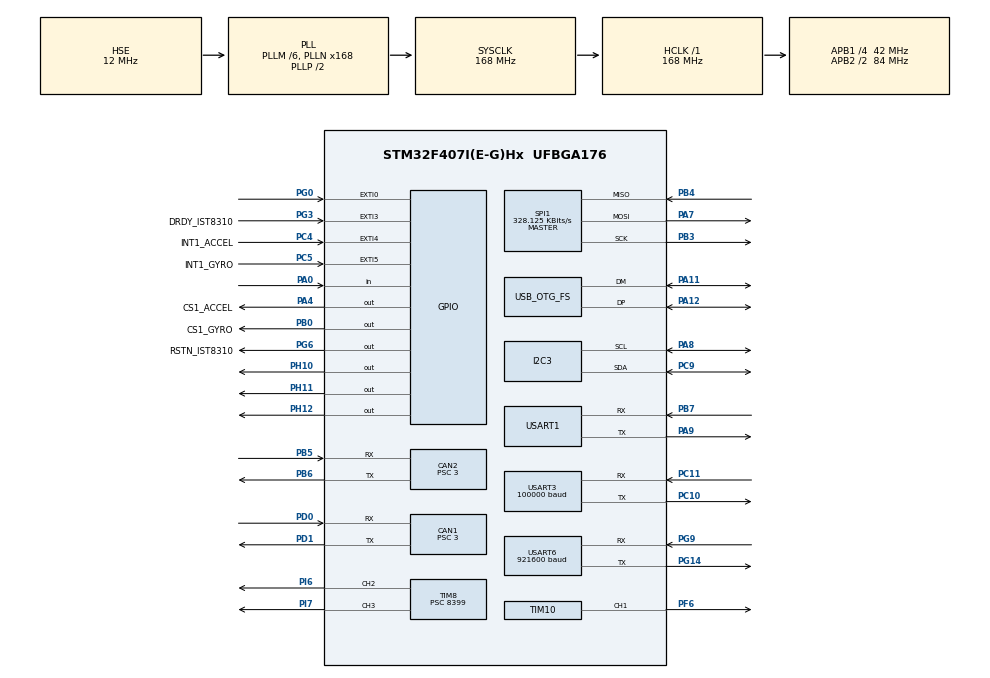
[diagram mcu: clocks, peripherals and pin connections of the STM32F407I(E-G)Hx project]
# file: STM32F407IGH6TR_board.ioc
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CAN1.ABOM=ENABLE
CAN1.BS1=CAN_BS1_9TQ
CAN1.BS2=CAN_BS2_4TQ
CAN1.CalculateBaudRate=1000000
CAN1.CalculateTimeBit=1000
CAN1.CalculateTimeQuantum=71.42857142857143
CAN1.Prescaler=3
CAN2.ABOM=ENABLE
CAN2.BS1=CAN_BS1_9TQ
CAN2.BS2=CAN_BS2_4TQ
CAN2.CalculateBaudRate=1000000
CAN2.CalculateTimeBit=1000
CAN2.CalculateTimeQuantum=71.42857142857143
CAN2.Prescaler=3
Dma.Request0=USART6_RX
Dma.Request1=USART6_TX
Dma.Request2=USART3_RX
Dma.Request3=USART1_RX
Dma.Request4=USART1_TX
Dma.Request5=SPI1_RX
Dma.Request6=SPI1_TX
Dma.SPI1_RX.5.Direction=DMA_PERIPH_TO_MEMORY
Dma.SPI1_RX.5.FIFOMode=DMA_FIFOMODE_DISABLE
Dma.SPI1_RX.5.Instance=DMA2_Stream2
Dma.SPI1_RX.5.MemDataAlignment=DMA_MDATAALIGN_BYTE
Dma.SPI1_RX.5.MemInc=DMA_MINC_ENABLE
Dma.SPI1_RX.5.Mode=DMA_NORMAL
Dma.SPI1_RX.5.PeriphDataAlignment=DMA_PDATAALIGN_BYTE
Dma.SPI1_RX.5.PeriphInc=DMA_PINC_DISABLE
Dma.SPI1_RX.5.Priority=DMA_PRIORITY_VERY_HIGH
Dma.SPI1_TX.6.Direction=DMA_MEMORY_TO_PERIPH
Dma.SPI1_TX.6.FIFOMode=DMA_FIFOMODE_DISABLE
Dma.SPI1_TX.6.Instance=DMA2_Stream3
Dma.SPI1_TX.6.MemDataAlignment=DMA_MDATAALIGN_BYTE
Dma.SPI1_TX.6.MemInc=DMA_MINC_ENABLE
Dma.SPI1_TX.6.Mode=DMA_NORMAL
Dma.SPI1_TX.6.PeriphDataAlignment=DMA_PDATAALIGN_BYTE
Dma.SPI1_TX.6.PeriphInc=DMA_PINC_DISABLE
Dma.SPI1_TX.6.Priority=DMA_PRIORITY_HIGH
Dma.USART1_RX.3.Direction=DMA_PERIPH_TO_MEMORY
Dma.USART1_RX.3.FIFOMode=DMA_FIFOMODE_DISABLE
Dma.USART1_RX.3.Instance=DMA2_Stream5
Dma.USART1_RX.3.MemDataAlignment=DMA_MDATAALIGN_BYTE
Dma.USART1_RX.3.MemInc=DMA_MINC_ENABLE
Dma.USART1_RX.3.Mode=DMA_CIRCULAR
Dma.USART1_RX.3.PeriphDataAlignment=DMA_PDATAALIGN_BYTE
Dma.USART1_RX.3.PeriphInc=DMA_PINC_DISABLE
Dma.USART1_RX.3.Priority=DMA_PRIORITY_LOW
Dma.USART1_TX.4.Direction=DMA_MEMORY_TO_PERIPH
Dma.USART1_TX.4.FIFOMode=DMA_FIFOMODE_DISABLE
Dma.USART1_TX.4.Instance=DMA2_Stream7
Dma.USART1_TX.4.MemDataAlignment=DMA_MDATAALIGN_BYTE
Dma.USART1_TX.4.MemInc=DMA_MINC_ENABLE
Dma.USART1_TX.4.Mode=DMA_NORMAL
Dma.USART1_TX.4.PeriphDataAlignment=DMA_PDATAALIGN_BYTE
Dma.USART1_TX.4.PeriphInc=DMA_PINC_DISABLE
Dma.USART1_TX.4.Priority=DMA_PRIORITY_LOW
Dma.USART3_RX.2.Direction=DMA_PERIPH_TO_MEMORY
Dma.USART3_RX.2.FIFOMode=DMA_FIFOMODE_DISABLE
Dma.USART3_RX.2.Instance=DMA1_Stream1
Dma.USART3_RX.2.MemDataAlignment=DMA_MDATAALIGN_BYTE
Dma.USART3_RX.2.MemInc=DMA_MINC_ENABLE
Dma.USART3_RX.2.Mode=DMA_CIRCULAR
Dma.USART3_RX.2.PeriphDataAlignment=DMA_PDATAALIGN_BYTE
Dma.USART3_RX.2.PeriphInc=DMA_PINC_DISABLE
Dma.USART3_RX.2.Priority=DMA_PRIORITY_VERY_HIGH
Dma.USART6_RX.0.Direction=DMA_PERIPH_TO_MEMORY
Dma.USART6_RX.0.FIFOMode=DMA_FIFOMODE_DISABLE
Dma.USART6_RX.0.Instance=DMA2_Stream1
Dma.USART6_RX.0.MemDataAlignment=DMA_MDATAALIGN_BYTE
Dma.USART6_RX.0.MemInc=DMA_MINC_ENABLE
Dma.USART6_RX.0.Mode=DMA_CIRCULAR
Dma.USART6_RX.0.PeriphDataAlignment=DMA_PDATAALIGN_BYTE
Dma.USART6_RX.0.PeriphInc=DMA_PINC_DISABLE
Dma.USART6_RX.0.Priority=DMA_PRIORITY_VERY_HIGH
Dma.USART6_TX.1.Direction=DMA_MEMORY_TO_PERIPH
Dma.USART6_TX.1.FIFOMode=DMA_FIFOMODE_DISABLE
Dma.USART6_TX.1.Instance=DMA2_Stream6
Dma.USART6_TX.1.MemDataAlignment=DMA_MDATAALIGN_BYTE
Dma.USART6_TX.1.MemInc=DMA_MINC_ENABLE
Dma.USART6_TX.1.Mode=DMA_NORMAL
Dma.USART6_TX.1.PeriphDataAlignment=DMA_PDATAALIGN_BYTE
Dma.USART6_TX.1.PeriphInc=DMA_PINC_DISABLE
Dma.USART6_TX.1.Priority=DMA_PRIORITY_LOW
FREERTOS.INCLUDE_vTaskDelayUntil=1
FREERTOS.INCLUDE_xTaskGetHandle=1
FREERTOS.Tasks01=defaultTask,0,128,StartDefaultTask,Default,NULL,Dynamic,NULL,NULL;GimbalControlTa,2,2048,GimbalControlTask,As weak,NULL,Dynamic,NULL,NULL;VisionComTa,-2,1024,VisionComTask,As weak,NULL,Dynamic,NULL,NULL;imuTask,3,1024,INS_task,As weak,NULL,Static,imuTaskBuffer,imuTaskControlBlock
I2C3.I2C_Mode=I2C_Fast
Mcu.Family=STM32F4
Mcu.Name=STM32F407I(E-G)Hx
Mcu.Package=UFBGA176
NVIC.CAN1_RX0_IRQn=true\:5\:0\:false\:false\:true\:true\:true\:true\:true
NVIC.CAN2_RX0_IRQn=true\:5\:0\:false\:false\:true\:true\:true\:true\:true
NVIC.DMA1_Stream1_IRQn=true\:5\:0\:false\:false\:true\:true\:false\:true\:true
NVIC.DMA2_Stream1_IRQn=true\:5\:0\:false\:false\:true\:true\:false\:true\:true
NVIC.DMA2_Stream2_IRQn=true\:5\:0\:false\:false\:true\:true\:false\:true\:true
NVIC.DMA2_Stream3_IRQn=true\:5\:0\:false\:false\:true\:true\:false\:true\:true
NVIC.DMA2_Stream5_IRQn=true\:5\:0\:false\:false\:true\:false\:false\:true\:true
NVIC.DMA2_Stream6_IRQn=true\:5\:0\:false\:false\:true\:true\:false\:true\:true
NVIC.DMA2_Stream7_IRQn=true\:5\:0\:false\:false\:true\:true\:false\:true\:true
NVIC.EXTI0_IRQn=true\:6\:0\:true\:false\:true\:true\:true\:true\:true
NVIC.EXTI3_IRQn=true\:5\:0\:false\:false\:true\:true\:true\:true\:true
NVIC.EXTI4_IRQn=true\:5\:0\:false\:false\:true\:true\:true\:true\:true
NVIC.EXTI9_5_IRQn=true\:5\:0\:false\:false\:true\:true\:true\:true\:true
NVIC.OTG_FS_IRQn=true\:5\:0\:false\:false\:true\:true\:true\:true\:true
NVIC.PriorityGroup=NVIC_PRIORITYGROUP_4
NVIC.TIM5_IRQn=true\:5\:0\:true\:false\:true\:true\:true\:true\:true
NVIC.TIM8_BRK_TIM12_IRQn=true\:5\:0\:false\:false\:true\:true\:true\:true\:true
NVIC.TIM8_CC_IRQn=true\:5\:0\:false\:false\:true\:true\:true\:true\:true
NVIC.TIM8_TRG_COM_TIM14_IRQn=true\:5\:0\:false\:false\:true\:true\:true\:true\:true
NVIC.TIM8_UP_TIM13_IRQn=true\:5\:0\:false\:false\:true\:true\:true\:true\:true
NVIC.USART1_IRQn=true\:5\:0\:false\:false\:true\:true\:true\:true\:true
NVIC.USART3_IRQn=true\:5\:0\:false\:false\:true\:true\:true\:true\:true
NVIC.USART6_IRQn=true\:5\:0\:false\:false\:true\:true\:true\:true\:true
PA0-WKUP.GPIO_PuPd=GPIO_PULLUP
PA0-WKUP.Signal=GPIO_Input
PA11.Mode=Device_Only
PA11.Signal=USB_OTG_FS_DM
PA12.Mode=Device_Only
PA12.Signal=USB_OTG_FS_DP
PA13.Mode=Serial_Wire
PA13.Signal=SYS_JTMS-SWDIO
PA14.Mode=Serial_Wire
PA14.Signal=SYS_JTCK-SWCLK
PA4.GPIO_Label=CS1_ACCEL
PA4.GPIO_PuPd=GPIO_PULLUP
PA4.GPIO_Speed=GPIO_SPEED_FREQ_HIGH
PA4.PinState=GPIO_PIN_SET
PA4.Signal=GPIO_Output
PA7.GPIO_PuPd=GPIO_PULLUP
PA7.Mode=Full_Duplex_Master
PA7.Signal=SPI1_MOSI
PA8.GPIO_Pu=GPIO_PULLUP
PA8.Mode=I2C
PA8.Signal=I2C3_SCL
PA9.Mode=Asynchronous
PA9.Signal=USART1_TX
PB0.GPIO_Label=CS1_GYRO
PB0.GPIO_PuPd=GPIO_PULLUP
PB0.GPIO_Speed=GPIO_SPEED_FREQ_HIGH
PB0.PinState=GPIO_PIN_SET
PB0.Signal=GPIO_Output
PB3.GPIO_PuPd=GPIO_PULLUP
PB3.Mode=Full_Duplex_Master
PB3.Signal=SPI1_SCK
PB4.GPIO_PuPd=GPIO_PULLUP
PB4.Mode=Full_Duplex_Master
PB4.Signal=SPI1_MISO
PB5.Mode=CAN_Activate
PB5.Signal=CAN2_RX
PB6.Mode=CAN_Activate
PB6.Signal=CAN2_TX
PB7.Mode=Asynchronous
PB7.Signal=USART1_RX
PC10.Mode=Asynchronous
PC10.Signal=USART3_TX
PC11.Mode=Asynchronous
PC11.Signal=USART3_RX
PC4.GPIO_Label=INT1_ACCEL
PC4.GPIO_ModeDefaultEXTI=GPIO_MODE_IT_FALLING
PC4.GPIO_PuPd=GPIO_PULLUP
PC4.Signal=GPXTI4
PC5.GPIO_Label=INT1_GYRO
PC5.GPIO_ModeDefaultEXTI=GPIO_MODE_IT_FALLING
PC5.GPIO_PuPd=GPIO_PULLUP
PC5.Signal=GPXTI5
PC9.GPIO_Pu=GPIO_PULLUP
PC9.Mode=I2C
PC9.Signal=I2C3_SDA
PD0.Mode=CAN_Activate
PD0.Signal=CAN1_RX
PD1.Mode=CAN_Activate
PD1.Signal=CAN1_TX
PF6.GPIO_PuPd=GPIO_PULLUP
PF6.GPIO_Speed=GPIO_SPEED_FREQ_HIGH
PF6.Signal=S_TIM10_CH1
PG0.GPIO_ModeDefaultEXTI=GPIO_MODE_IT_FALLING
PG0.GPIO_PuPd=GPIO_PULLUP
PG0.Signal=GPXTI0
PG14.Mode=Asynchronous
PG14.Signal=USART6_TX
PG3.GPIO_Label=DRDY_IST8310
PG3.GPIO_ModeDefaultEXTI=GPIO_MODE_IT_FALLING
PG3.GPIO_PuPd=GPIO_PULLUP
PG3.Signal=GPXTI3
PG6.GPIO_Label=RSTN_IST8310
PG6.GPIO_PuPd=GPIO_PULLUP
PG6.GPIO_Speed=GPIO_SPEED_FREQ_MEDIUM
PG6.PinState=GPIO_PIN_SET
PG6.Signal=GPIO_Output
PG9.Mode=Asynchronous
PG9.Signal=USART6_RX
PH0-OSC_IN.Mode=HSE-External-Oscillator
PH0-OSC_IN.Signal=RCC_OSC_IN
PH1-OSC_OUT.Mode=HSE-External-Oscillator
PH1-OSC_OUT.Signal=RCC_OSC_OUT
PH10.PinState=GPIO_PIN_RESET
PH10.Signal=GPIO_Output
PH11.PinState=GPIO_PIN_RESET
PH11.Signal=GPIO_Output
PH12.PinState=GPIO_PIN_RESET
PH12.Signal=GPIO_Output
PI6.Signal=S_TIM8_CH2
PI7.Signal=S_TIM8_CH3
ProjectManager.HeapSize=0x1000
ProjectManager.StackSize=0x1000
ProjectManager.TargetToolchain=STM32CubeIDE
RCC.48MHZClocksFreq_Value=48000000
RCC.AHBFreq_Value=168000000
RCC.APB1CLKDivider=RCC_HCLK_DIV4
RCC.APB1Freq_Value=42000000
RCC.APB1TimFreq_Value=84000000
RCC.APB2CLKDivider=RCC_HCLK_DIV2
RCC.APB2Freq_Value=84000000
RCC.APB2TimFreq_Value=168000000
RCC.CortexFreq_Value=168000000
RCC.HCLKFreq_Value=168000000
RCC.HSE_VALUE=12000000
RCC.HSI_VALUE=16000000
RCC.LSE_VALUE=32768
RCC.PLLM=6
RCC.PLLN=168
RCC.PLLQ=7
RCC.SYSCLKFreq_VALUE=168000000
RCC.SYSCLKSource=RCC_SYSCLKSOURCE_PLLCLK
RCC.VCOOutputFreq_Value=336000000
SH.S_TIM10_CH1.0=TIM10_CH1,PWM Generation1 CH1
SH.S_TIM8_CH2.0=TIM8_CH2,PWM Generation2 CH2
SH.S_TIM8_CH3.0=TIM8_CH3,PWM Generation3 CH3
SPI1.BaudRatePrescaler=SPI_BAUDRATEPRESCALER_256
SPI1.CLKPhase=SPI_PHASE_2EDGE
SPI1.CLKPolarity=SPI_POLARITY_HIGH
SPI1.CalculateBaudRate=328.125 KBits/s
SPI1.Direction=SPI_DIRECTION_2LINES
SPI1.Mode=SPI_MODE_MASTER
SPI1.VirtualType=VM_MASTER
STMicroelectronics.X-CUBE-ALGOBUILD.1.3.0.LibraryCcDSPOoLibraryJjDSPOoLibrary=true
TIM10.Channel=TIM_CHANNEL_1
TIM10.Period=4999
TIM5.AutoReloadPreload=TIM_AUTORELOAD_PRELOAD_ENABLE
TIM5.Period=25
TIM5.Prescaler=8399
TIM8.Channel-PWM\ Generation2\ CH2=TIM_CHANNEL_2
TIM8.Channel-PWM\ Generation3\ CH3=TIM_CHANNEL_3
TIM8.Period=199
TIM8.Prescaler=8399
USART1.VirtualMode=VM_ASYNC
USART3.BaudRate=100000
USART3.VirtualMode=VM_ASYNC
USART6.BaudRate=921600
USART6.VirtualMode=VM_ASYNC
USB_DEVICE.CLASS_NAME_FS=CDC
USB_DEVICE.VirtualMode-CDC_FS=Cdc
USB_DEVICE.VirtualModeFS=Cdc_FS
USB_OTG_FS.VirtualMode=Device_Only
VP_FREERTOS_VS_CMSIS_V1.Mode=CMSIS_V1
VP_IWDG_VS_IWDG.Mode=IWDG_Activate
VP_STMicroelectronics.X-CUBE-ALGOBUILD_VS_DSPOoLibraryJjLibrary_1.3.0_1.3.0.Mode=DSPOoLibraryJjLibrary
VP_TIM10_VS_ClockSourceINT.Mode=Enable_Timer
VP_TIM5_VS_ClockSourceINT.Mode=Internal
VP_TIM8_VS_ClockSourceINT.Mode=Internal
VP_USB_DEVICE_VS_USB_DEVICE_CDC_FS.Mode=CDC_FS
board=custom

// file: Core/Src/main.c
/* USER CODE BEGIN Header */
/**
  ******************************************************************************
  * @file           : main.c
  * @brief          : Main program body
  ******************************************************************************
  * @attention
  *
  * Copyright (c) 2022 STMicroelectronics.
  * All rights reserved.
  *
  * This software is licensed under terms that can be found in the LICENSE file
  * in the root directory of this software component.
  * If no LICENSE file comes with this software, it is provided AS-IS.
  *
  ******************************************************************************
  */
/* USER CODE END Header */
#include "main.h"
#include "cmsis_os.h"
#include "can.h"
#include "dma.h"
#include "i2c.h"
#include "iwdg.h"
#include "spi.h"
#include "tim.h"
#include "usart.h"
#include "usb_device.h"
#include "gpio.h"

/* USER CODE BEGIN PM */
void BSP_Init(void)
{
	HAL_Init();
	SystemClock_Config();
	MX_GPIO_Init();
	MX_DMA_Init();
	MX_USART6_UART_Init();
	MX_USART3_UART_Init();
	MX_CAN1_Init();
	MX_CAN2_Init();
	MX_USART1_UART_Init();

	MX_I2C3_Init();
	MX_SPI1_Init();

	MX_TIM10_Init();
	MX_TIM5_Init();
	MX_TIM8_Init();

	MX_IWDG_Init();
	MX_FREERTOS_Init();
}
/* USER CODE END PM */

void SystemClock_Config(void);
void MX_FREERTOS_Init(void);

void SystemClock_Config(void)
{
  RCC_OscInitTypeDef RCC_OscInitStruct = {0};
  RCC_ClkInitTypeDef RCC_ClkInitStruct = {0};

  /** Configure the main internal regulator output voltage
  */
  __HAL_RCC_PWR_CLK_ENABLE();
  __HAL_PWR_VOLTAGESCALING_CONFIG(PWR_REGULATOR_VOLTAGE_SCALE1);

  /** Initializes the RCC Oscillators according to the specified parameters
  * in the RCC_OscInitTypeDef structure.
  */
  RCC_OscInitStruct.OscillatorType = RCC_OSCILLATORTYPE_LSI|RCC_OSCILLATORTYPE_HSE;
  RCC_OscInitStruct.HSEState = RCC_HSE_ON;
  RCC_OscInitStruct.LSIState = RCC_LSI_ON;
  RCC_OscInitStruct.PLL.PLLState = RCC_PLL_ON;
  RCC_OscInitStruct.PLL.PLLSource = RCC_PLLSOURCE_HSE;
  RCC_OscInitStruct.PLL.PLLM = 6;
  RCC_OscInitStruct.PLL.PLLN = 168;
  RCC_OscInitStruct.PLL.PLLP = RCC_PLLP_DIV2;
  RCC_OscInitStruct.PLL.PLLQ = 7;
  if (HAL_RCC_OscConfig(&RCC_OscInitStruct) != HAL_OK)
  {
    Error_Handler();
  }

  /** Initializes the CPU, AHB and APB buses clocks
  */
  RCC_ClkInitStruct.ClockType = RCC_CLOCKTYPE_HCLK|RCC_CLOCKTYPE_SYSCLK
                              |RCC_CLOCKTYPE_PCLK1|RCC_CLOCKTYPE_PCLK2;
  RCC_ClkInitStruct.SYSCLKSource = RCC_SYSCLKSOURCE_PLLCLK;
  RCC_ClkInitStruct.AHBCLKDivider = RCC_SYSCLK_DIV1;
  RCC_ClkInitStruct.APB1CLKDivider = RCC_HCLK_DIV4;
  RCC_ClkInitStruct.APB2CLKDivider = RCC_HCLK_DIV2;

  if (HAL_RCC_ClockConfig(&RCC_ClkInitStruct, FLASH_LATENCY_5) != HAL_OK)
  {
    Error_Handler();
  }
}

void Error_Handler(void)
{
	__disable_irq();
	while (1)
	{
	}
}
